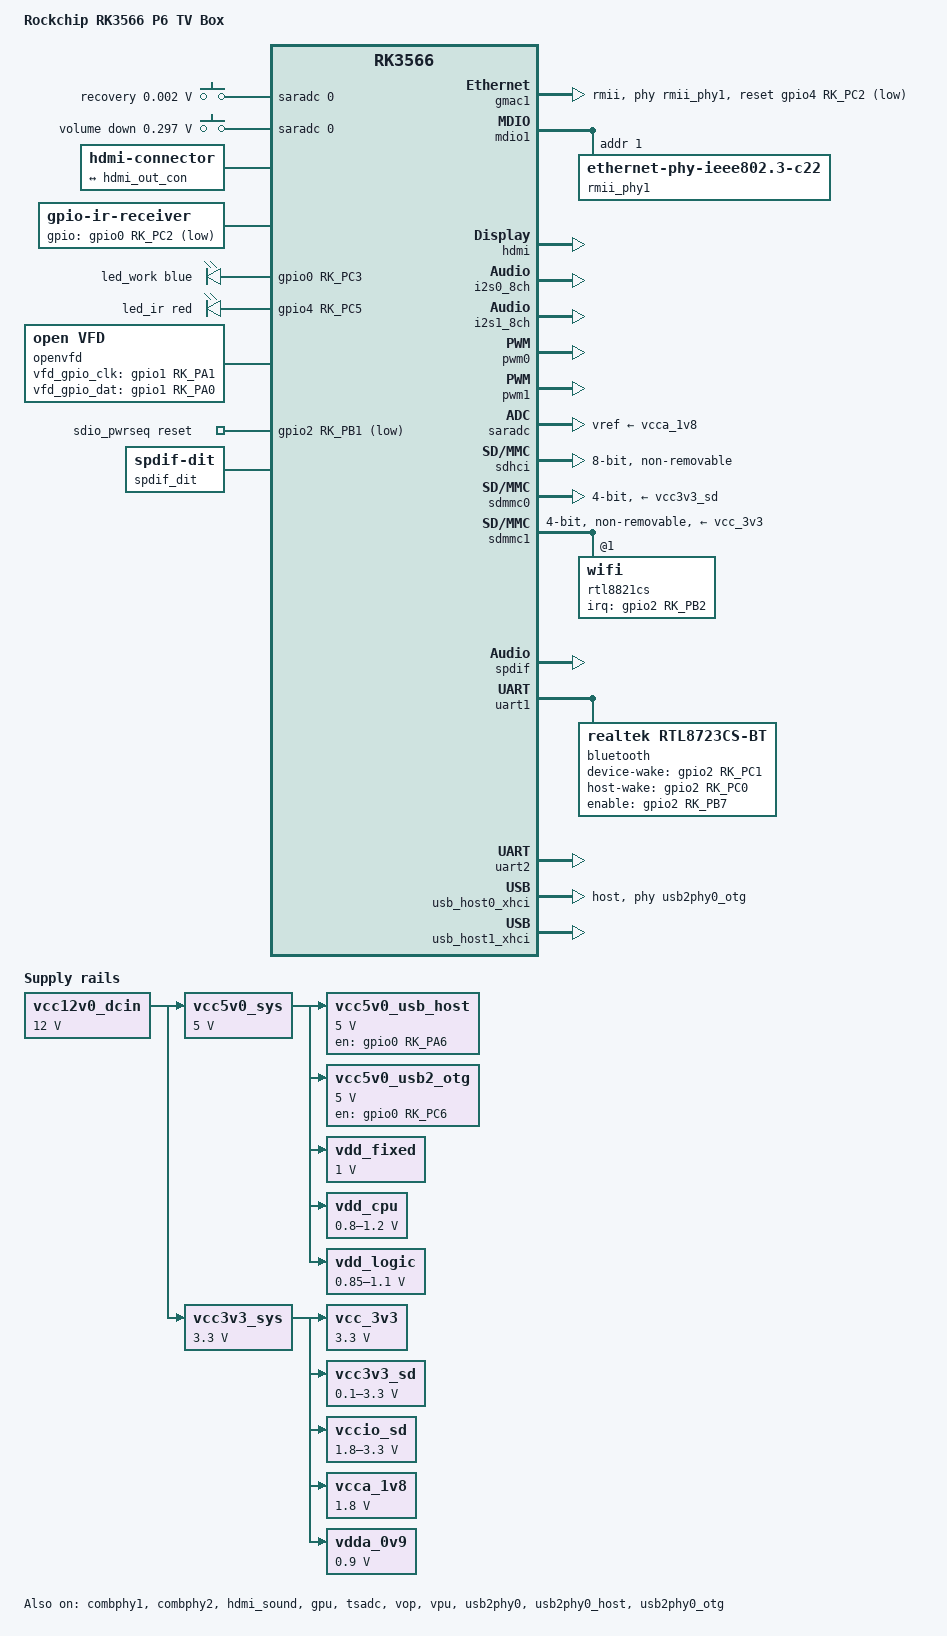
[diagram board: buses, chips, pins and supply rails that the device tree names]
// SPDX-License-Identifier: (GPL-2.0+ OR MIT)

/*
 * Device tree for the "P6" TV box (brand: tenglv / 腾绿).
 *
 * The board is a production variant of the "Rockchip RK3566 BOX DEMO V10"
 * reference design, so this file is derived from rk3566-box-demo.dts.
 * Differences against the reference board, taken from the vendor Android
 * 4.19 device tree:
 *
 *   - GMAC1 runs in RMII mode (100Mbit PHY) with the reference clock
 *     driven *out* of the SoC, instead of RGMII with an external clock.
 *   - WiFi/BT combo is a Realtek RTL8821CS (SDIO WiFi + UART BT) instead
 *     of the AMPAK AP6398S.
 *   - The IR receiver sits on GPIO0_C2 (vendor kernel drives it as PWM3
 *     capture; here it is used as a plain gpio-ir-receiver).
 *   - Extra IR indicator LED on GPIO4_C5.
 *   - ADC keys on SARADC channel 0.
 *   - 2GB DDR4, 16GB eMMC.
 *
 * Front panel: FD655 4-digit LED display on two bit-banged GPIOs, driven
 * by the openvfd driver (see documents/led_screen_display_control.md in
 * the Armbian tree; runtime configuration goes into /usr/share/openvfd).
 *
 * Ports: HDMI, AV (analog audio out), S/PDIF (optical), one USB3 type-A,
 * one USB2 type-A, one TF (microSD) slot, 100Mbit Ethernet.
 */

/dts-v1/;

#include <dt-bindings/gpio/gpio.h>
#include <dt-bindings/input/input.h>
#include <dt-bindings/leds/common.h>
#include <dt-bindings/pinctrl/rockchip.h>
#include <dt-bindings/soc/rockchip,vop2.h>
#include "rk3566.dtsi"

/ {
	model = "Rockchip RK3566 P6 TV Box";
	compatible = "tenglv,rk3566-p6", "rockchip,rk3566-box-demo", "rockchip,rk3566";

	aliases {
		ethernet0 = &gmac1;
		mmc0 = &sdhci;
		mmc1 = &sdmmc0;
		mmc2 = &sdmmc1;
	};

	chosen: chosen {
		stdout-path = "serial2:1500000n8";
	};

	adc-keys {
		compatible = "adc-keys";
		io-channels = <&saradc 0>;
		io-channel-names = "buttons";
		keyup-threshold-microvolt = <1800000>;
		poll-interval = <100>;

		button-recovery {
			label = "recovery";
			linux,code = <KEY_VENDOR>;
			press-threshold-microvolt = <1750>;
		};

		button-volume-down {
			label = "volume down";
			linux,code = <KEY_VOLUMEDOWN>;
			press-threshold-microvolt = <297500>;
		};
	};

	hdmi-con {
		compatible = "hdmi-connector";
		type = "a";

		port {
			hdmi_con_in: endpoint {
				remote-endpoint = <&hdmi_out_con>;
			};
		};
	};

	ir-receiver {
		compatible = "gpio-ir-receiver";
		gpios = <&gpio0 RK_PC2 GPIO_ACTIVE_LOW>;
		pinctrl-names = "default";
		pinctrl-0 = <&ir_int>;
		linux,rc-map-name = "rc-beelink-gs1";
		status = "okay";
	};

	leds {
		compatible = "gpio-leds";

		led_work: led-0 {
			gpios = <&gpio0 RK_PC3 GPIO_ACTIVE_HIGH>;
			function = LED_FUNCTION_HEARTBEAT;
			color = <LED_COLOR_ID_BLUE>;
			linux,default-trigger = "heartbeat";
			pinctrl-names = "default";
			pinctrl-0 = <&led_work_en>;
		};

		led_ir: led-1 {
			gpios = <&gpio4 RK_PC5 GPIO_ACTIVE_HIGH>;
			function = LED_FUNCTION_INDICATOR;
			color = <LED_COLOR_ID_RED>;
			default-state = "off";
			pinctrl-names = "default";
			pinctrl-0 = <&led_ir_en>;
		};
	};

	/* FD655 front panel LED display, bit-banged on two GPIOs */
	openvfd: openvfd {
		compatible = "open,vfd";
		dev_name = "openvfd";
		status = "okay";
		vfd_gpio_clk = <&gpio1 RK_PA1 GPIO_ACTIVE_HIGH>;
		vfd_gpio_dat = <&gpio1 RK_PA0 GPIO_ACTIVE_HIGH>;
	};

	sdio_pwrseq: sdio-pwrseq {
		status = "okay";
		compatible = "mmc-pwrseq-simple";
		clocks = <&pmucru CLK_RTC_32K>;
		clock-names = "ext_clock";
		pinctrl-names = "default";
		pinctrl-0 = <&wifi_enable_h &wifi_32k>;
		reset-gpios = <&gpio2 RK_PB1 GPIO_ACTIVE_LOW>;
	};

	spdif_dit: spdif-dit {
		compatible = "linux,spdif-dit";
		#sound-dai-cells = <0>;
	};

	spdif_sound: spdif-sound {
		compatible = "simple-audio-card";
		simple-audio-card,name = "SPDIF";

		simple-audio-card,cpu {
			sound-dai = <&spdif>;
		};

		simple-audio-card,codec {
			sound-dai = <&spdif_dit>;
		};
	};

	/*
	 * AV jack. The analog codec (ES8323) hangs off I2S1 but has no
	 * control bus at all - every I2C controller is disabled on this
	 * board and the vendor kernel binds a dummy codec to the same
	 * link, so the part runs entirely on its hardware defaults.
	 * Model it the same way here: an I2S link to a codec we cannot
	 * talk to.
	 */
	dac_dummy: dac-dummy {
		compatible = "linux,spdif-dit";
		#sound-dai-cells = <0>;
	};

	analog_sound: analog-sound {
		compatible = "simple-audio-card";
		simple-audio-card,name = "Analog";
		simple-audio-card,format = "i2s";
		simple-audio-card,mclk-fs = <256>;

		simple-audio-card,cpu {
			sound-dai = <&i2s1_8ch>;
		};

		simple-audio-card,codec {
			sound-dai = <&dac_dummy>;
		};
	};

	vcc12v0_dcin: regulator-vcc12v0-dcin {
		compatible = "regulator-fixed";
		regulator-name = "vcc12v0_dcin";
		regulator-always-on;
		regulator-boot-on;
		regulator-min-microvolt = <12000000>;
		regulator-max-microvolt = <12000000>;
	};

	vcc5v0_sys: regulator-vcc5v0-sys {
		compatible = "regulator-fixed";
		regulator-name = "vcc5v0_sys";
		regulator-always-on;
		regulator-boot-on;
		regulator-min-microvolt = <5000000>;
		regulator-max-microvolt = <5000000>;
		vin-supply = <&vcc12v0_dcin>;
	};

	vcc3v3_sys: regulator-vcc3v3-sys {
		compatible = "regulator-fixed";
		regulator-name = "vcc3v3_sys";
		regulator-always-on;
		regulator-boot-on;
		regulator-min-microvolt = <3300000>;
		regulator-max-microvolt = <3300000>;
		vin-supply = <&vcc12v0_dcin>;
	};

	vcc_3v3: regulator-vcc-3v3 {
		compatible = "regulator-fixed";
		regulator-name = "vcc_3v3";
		regulator-always-on;
		regulator-boot-on;
		regulator-min-microvolt = <3300000>;
		regulator-max-microvolt = <3300000>;
		vin-supply = <&vcc3v3_sys>;
	};

	/* SD card power switch, driven by a single GPIO */
	vcc3v3_sd: regulator-vcc3v3-sd {
		compatible = "regulator-gpio";
		regulator-name = "vcc3v3_sd";
		regulator-min-microvolt = <100000>;
		regulator-max-microvolt = <3300000>;
		gpios = <&gpio0 RK_PA5 GPIO_ACTIVE_HIGH>;
		gpios-states = <0x1>;
		states = <100000 0x1>, <3300000 0x0>;
		vin-supply = <&vcc3v3_sys>;
	};

	/* SD card I/O level switch: 1.8V / 3.3V */
	vccio_sd: regulator-vccio-sd {
		compatible = "regulator-gpio";
		regulator-name = "vccio_sd";
		regulator-min-microvolt = <1800000>;
		regulator-max-microvolt = <3300000>;
		gpios = <&gpio0 RK_PB6 GPIO_ACTIVE_HIGH>;
		gpios-states = <0x1>;
		states = <1800000 0x0>, <3300000 0x1>;
		vin-supply = <&vcc3v3_sys>;
	};

	vcc5v0_usb_host: regulator-vcc5v0-usb-host {
		compatible = "regulator-fixed";
		enable-active-high;
		gpio = <&gpio0 RK_PA6 GPIO_ACTIVE_HIGH>;
		pinctrl-names = "default";
		pinctrl-0 = <&vcc5v0_usb_host_en>;
		regulator-name = "vcc5v0_usb_host";
		regulator-always-on;
		regulator-min-microvolt = <5000000>;
		regulator-max-microvolt = <5000000>;
		vin-supply = <&vcc5v0_sys>;
	};

	vcc5v0_usb2_otg: regulator-vcc5v0-usb2-otg {
		compatible = "regulator-fixed";
		enable-active-high;
		gpio = <&gpio0 RK_PC6 GPIO_ACTIVE_HIGH>;
		pinctrl-names = "default";
		pinctrl-0 = <&vcc5v0_usb2_otg_en>;
		regulator-name = "vcc5v0_usb_otg";
		regulator-min-microvolt = <5000000>;
		regulator-max-microvolt = <5000000>;
		vin-supply = <&vcc5v0_sys>;
	};

	vcca_1v8: regulator-vcca-1v8 {
		compatible = "regulator-fixed";
		regulator-name = "vcca_1v8";
		regulator-always-on;
		regulator-boot-on;
		regulator-min-microvolt = <1800000>;
		regulator-max-microvolt = <1800000>;
		vin-supply = <&vcc3v3_sys>;
	};

	vdda_0v9: regulator-vdda-0v9 {
		compatible = "regulator-fixed";
		regulator-name = "vdda_0v9";
		regulator-always-on;
		regulator-boot-on;
		regulator-min-microvolt = <900000>;
		regulator-max-microvolt = <900000>;
		vin-supply = <&vcc3v3_sys>;
	};

	vdd_fixed: regulator-vdd-fixed {
		compatible = "regulator-fixed";
		regulator-name = "vdd_fixed";
		regulator-min-microvolt = <1000000>;
		regulator-max-microvolt = <1000000>;
		regulator-always-on;
		regulator-boot-on;
		vin-supply = <&vcc5v0_sys>;
	};

	/* There is no PMIC on this board: core rails are PWM regulators */
	vdd_cpu: regulator-vdd-cpu {
		compatible = "pwm-regulator";
		pwms = <&pwm0 0 5000 1>;
		regulator-name = "vdd_cpu";
		regulator-min-microvolt = <800000>;
		regulator-max-microvolt = <1200000>;
		regulator-always-on;
		regulator-boot-on;
		regulator-settling-time-up-us = <250>;
		pwm-supply = <&vcc5v0_sys>;
	};

	vdd_logic: regulator-vdd-logic {
		compatible = "pwm-regulator";
		pwms = <&pwm1 0 5000 1>;
		regulator-name = "vdd_logic";
		regulator-min-microvolt = <850000>;
		regulator-max-microvolt = <1100000>;
		regulator-always-on;
		regulator-boot-on;
		regulator-settling-time-up-us = <250>;
		pwm-supply = <&vcc5v0_sys>;
	};
};

&combphy1 {
	status = "okay";
};

&combphy2 {
	status = "okay";
};

&cpu0 {
	cpu-supply = <&vdd_cpu>;
};

&cpu1 {
	cpu-supply = <&vdd_cpu>;
};

&cpu2 {
	cpu-supply = <&vdd_cpu>;
};

&cpu3 {
	cpu-supply = <&vdd_cpu>;
};

&gmac1 {
	/* RMII, 50MHz reference clock generated by the SoC */
	assigned-clocks = <&cru SCLK_GMAC1_RX_TX>, <&cru SCLK_GMAC1>;
	assigned-clock-parents = <&cru SCLK_GMAC1_RMII_SPEED>;
	assigned-clock-rates = <0>, <50000000>;
	phy-mode = "rmii";
	clock_in_out = "output";
	pinctrl-names = "default";
	pinctrl-0 = <&gmac1m1_miim
		    &gmac1m1_tx_bus2
		    &gmac1m1_rx_bus2
		    &gmac1m1_rx_er
		    &gmac1m1_clkinout>;
	snps,reset-gpio = <&gpio4 RK_PC2 GPIO_ACTIVE_LOW>;
	snps,reset-active-low;
	snps,reset-delays-us = <0 50000 100000>;
	phy-handle = <&rmii_phy1>;
	status = "okay";
};

&mdio1 {
	rmii_phy1: ethernet-phy@1 {
		compatible = "ethernet-phy-ieee802.3-c22";
		reg = <0x1>;
	};
};

&hdmi {
	assigned-clocks = <&cru CLK_HDMI_CEC>;
	assigned-clock-rates = <32768>;
	avdd-0v9-supply = <&vdda_0v9>;
	avdd-1v8-supply = <&vcca_1v8>;
	status = "okay";
};

&hdmi_in {
	hdmi_in_vp0: endpoint {
		remote-endpoint = <&vp0_out_hdmi>;
	};
};

&hdmi_out {
	hdmi_out_con: endpoint {
		remote-endpoint = <&hdmi_con_in>;
	};
};

&hdmi_sound {
	status = "okay";
};

&gpu {
	status = "okay";
};

&i2s0_8ch {
	status = "okay";
};

/* AV jack, see analog_sound above */
&i2s1_8ch {
	pinctrl-names = "default";
	pinctrl-0 = <&i2s1m0_sclktx &i2s1m0_lrcktx &i2s1m0_sdi0 &i2s1m0_sdo0>;
	rockchip,trcm-sync-tx-only;
	status = "okay";
};

&pinctrl {
	bt {
		bt_enable_h: bt-enable-h {
			rockchip,pins = <2 RK_PB7 RK_FUNC_GPIO &pcfg_pull_none>;
		};

		bt_host_wake_l: bt-host-wake-l {
			rockchip,pins = <2 RK_PC0 RK_FUNC_GPIO &pcfg_pull_down>;
		};

		bt_wake_l: bt-wake-l {
			rockchip,pins = <2 RK_PC1 RK_FUNC_GPIO &pcfg_pull_none>;
		};
	};

	sdio-pwrseq {
		wifi_enable_h: wifi-enable-h {
			rockchip,pins = <2 RK_PB1 RK_FUNC_GPIO &pcfg_pull_none>;
		};

		wifi_host_wake_h: wifi-host-wake-l {
			rockchip,pins = <2 RK_PB2 RK_FUNC_GPIO &pcfg_pull_none>;
		};

		wifi_32k: wifi-32k {
			rockchip,pins = <2 RK_PC6 1 &pcfg_pull_none>;
		};
	};

	usb {
		vcc5v0_usb_host_en: vcc5v0-usb-host-en {
			rockchip,pins = <0 RK_PA6 RK_FUNC_GPIO &pcfg_pull_none>;
		};

		vcc5v0_usb2_otg_en: vcc5v0-usb2-otg-en {
			rockchip,pins = <0 RK_PC6 RK_FUNC_GPIO &pcfg_pull_none>;
		};
	};

	ir {
		ir_int: ir-int {
			rockchip,pins = <0 RK_PC2 RK_FUNC_GPIO &pcfg_pull_none>;
		};
	};

	led {
		led_work_en: led-work-en {
			rockchip,pins = <0 RK_PC3 RK_FUNC_GPIO &pcfg_pull_none>;
		};

		led_ir_en: led-ir-en {
			rockchip,pins = <4 RK_PC5 RK_FUNC_GPIO &pcfg_pull_none>;
		};
	};
};

&pmu_io_domains {
	pmuio2-supply = <&vcc_3v3>;
	vccio1-supply = <&vcc_3v3>;
	vccio3-supply = <&vccio_sd>;
	vccio4-supply = <&vcca_1v8>;
	vccio5-supply = <&vcc_3v3>;
	vccio6-supply = <&vcca_1v8>;
	vccio7-supply = <&vcc_3v3>;
	status = "okay";
};

&pwm0 {
	status = "okay";
};

&pwm1 {
	status = "okay";
};

&saradc {
	vref-supply = <&vcca_1v8>;
	status = "okay";
};

&sdhci {
	bus-width = <8>;
	mmc-hs200-1_8v;
	non-removable;
	max-frequency = <200000000>;
	status = "okay";
};

&sdmmc0 {
	bus-width = <4>;
	cap-mmc-highspeed;
	cap-sd-highspeed;
	/* card detect is done by the controller through sdmmc0_det */
	disable-wp;
	pinctrl-names = "default";
	pinctrl-0 = <&sdmmc0_bus4 &sdmmc0_clk &sdmmc0_cmd &sdmmc0_det>;
	vmmc-supply = <&vcc3v3_sd>;
	vqmmc-supply = <&vccio_sd>;
	status = "okay";
};

&sdmmc1 {
	/* Realtek RTL8821CS WiFi (SDIO) + BT (UART1) combo */
	#address-cells = <1>;
	#size-cells = <0>;
	bus-width = <4>;
	cap-sdio-irq;
	cap-sd-highspeed;
	sd-uhs-sdr104;
	keep-power-in-suspend;
	mmc-pwrseq = <&sdio_pwrseq>;
	non-removable;
	pinctrl-names = "default";
	pinctrl-0 = <&sdmmc1_bus4 &sdmmc1_cmd &sdmmc1_clk>;
	vmmc-supply = <&vcc_3v3>;
	vqmmc-supply = <&vcca_1v8>;
	status = "okay";

	rtl8821cs: wifi@1 {
		reg = <1>;
		interrupt-parent = <&gpio2>;
		interrupts = <RK_PB2 IRQ_TYPE_LEVEL_HIGH>;
		interrupt-names = "host-wake";
		pinctrl-names = "default";
		pinctrl-0 = <&wifi_host_wake_h>;
	};
};

&spdif {
	status = "okay";
};

&tsadc {
	/* tshut mode 0:CRU 1:GPIO */
	rockchip,hw-tshut-mode = <1>;
	/* tshut polarity 0:LOW 1:HIGH */
	rockchip,hw-tshut-polarity = <0>;
	status = "okay";
};

&uart1 {
	pinctrl-names = "default";
	pinctrl-0 = <&uart1m0_xfer &uart1m0_ctsn &uart1m0_rtsn>;
	status = "okay";
	uart-has-rtscts;

	bluetooth {
		/*
		 * RTL8821CS BT uses the same H5 3-wire protocol as the
		 * RTL8723CS; the firmware is picked by btrtl from the
		 * chip's LMP subversion.
		 */
		compatible = "realtek,rtl8723cs-bt";
		device-wake-gpios = <&gpio2 RK_PC1 GPIO_ACTIVE_HIGH>;
		host-wake-gpios = <&gpio2 RK_PC0 GPIO_ACTIVE_HIGH>;
		enable-gpios = <&gpio2 RK_PB7 GPIO_ACTIVE_HIGH>;
		pinctrl-names = "default";
		pinctrl-0 = <&bt_host_wake_l &bt_wake_l &bt_enable_h>;
	};
};

&uart2 {
	status = "okay";
};

&vop {
	assigned-clocks = <&cru DCLK_VOP0>, <&cru DCLK_VOP1>;
	assigned-clock-parents = <&pmucru PLL_HPLL>, <&cru PLL_VPLL>;
	status = "okay";
};

&vop_mmu {
	status = "okay";
};

&vp0 {
	vp0_out_hdmi: endpoint@ROCKCHIP_VOP2_EP_HDMI0 {
		reg = <ROCKCHIP_VOP2_EP_HDMI0>;
		remote-endpoint = <&hdmi_in_vp0>;
	};
};

&vpu {
	status = "okay";
};

&vdpu_mmu {
	status = "okay";
};

/*
 * Only the two dwc3 controllers are wired up on this board; the EHCI/OHCI
 * pairs and the whole second USB2 PHY are left disabled, same as vendor.
 *
 *   usb_host0_xhci (usb2phy0 otg-port)              -> USB2 type-A port
 *   usb_host1_xhci (usb2phy0 host-port + combphy1)  -> USB3 type-A port
 */
&usb2phy0 {
	status = "okay";
};

&usb2phy0_host {
	phy-supply = <&vcc5v0_usb_host>;
	status = "okay";
};

&usb2phy0_otg {
	phy-supply = <&vcc5v0_usb2_otg>;
	status = "okay";
};

&usb_host0_xhci {
	dr_mode = "host";
	maximum-speed = "high-speed";
	phys = <&usb2phy0_otg>;
	phy-names = "usb2-phy";
	status = "okay";
};

&usb_host1_xhci {
	status = "okay";
};
